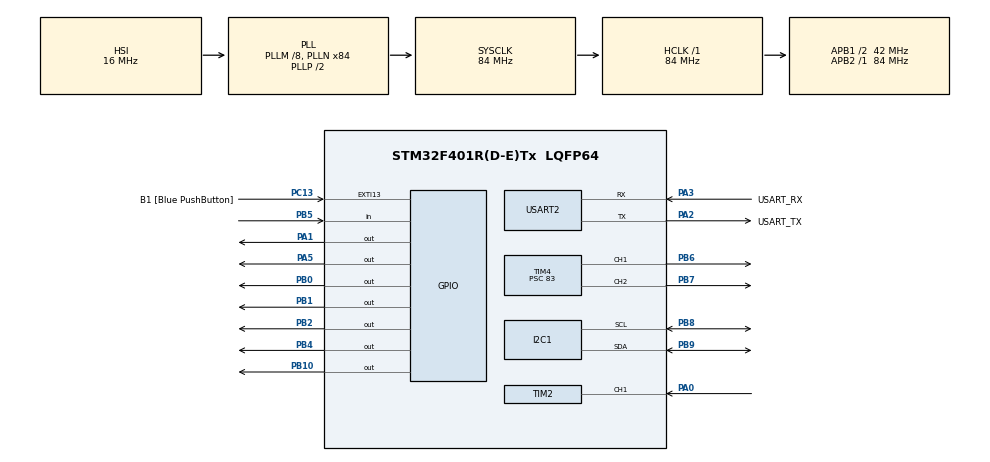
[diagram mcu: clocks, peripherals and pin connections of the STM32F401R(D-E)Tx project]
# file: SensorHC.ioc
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Mcu.Family=STM32F4
PA2.GPIO_PuPd=GPIO_NOPULL
RCC.CortexFreq_Value=84000000
TIM2.Channel-Input_Capture1_from_TI1=TIM_CHANNEL_1
PB10.GPIO_Speed=GPIO_SPEED_FREQ_MEDIUM
PA14.GPIO_Label=TCK
PA3.GPIO_PuPd=GPIO_NOPULL
PB2.GPIO_Speed=GPIO_SPEED_FREQ_MEDIUM
PA2.GPIO_Speed=GPIO_SPEED_FREQ_LOW
PA3.GPIO_Speed=GPIO_SPEED_FREQ_LOW
RCC.SYSCLKSource=RCC_SYSCLKSOURCE_PLLCLK
ProjectManager.StackSize=0x400
TIM1.Prescaler=83
PH0\ -\ OSC_IN.Signal=RCC_OSC_IN
RCC.HCLKFreq_Value=84000000
RCC.APB2TimFreq_Value=84000000
PB6.Signal=S_TIM4_CH1
RCC.AHBFreq_Value=84000000
RCC.HSE_VALUE=8000000
PB2.Signal=GPIO_Output
PC13-ANTI_TAMP.Signal=GPXTI13
PC14-OSC32_IN.Mode=LSE-External-Oscillator
PB1.GPIO_Speed=GPIO_SPEED_FREQ_MEDIUM
PA14.Mode=Serial_Wire
NVIC.TIM2_IRQn=true\:0\:0\:false\:false\:true\:true\:true
SH.S_TIM4_CH2.0=TIM4_CH2,PWM Generation2 CH2
PB7.Signal=S_TIM4_CH2
TIM4.Period=999
VP_TIM1_VS_ClockSourceINT.Mode=Internal
PB9.Signal=I2C1_SDA
Mcu.Package=LQFP64
TIM2.Prescaler=83
PB1.Signal=GPIO_Output
USART2.VirtualMode=VM_ASYNC
PA2.GPIO_Label=USART_TX
SH.S_TIM4_CH1.0=TIM4_CH1,PWM Generation1 CH1
RCC.APB1TimFreq_Value=84000000
PB4.Signal=GPIO_Output
PA3.Signal=USART2_RX
PA2.GPIO_Mode=GPIO_MODE_AF_PP
PB3.GPIO_Label=SWO
TIM4.Channel-PWM\ Generation1\ CH1=TIM_CHANNEL_1
PC15-OSC32_OUT.Mode=LSE-External-Oscillator
TIM4.AutoReloadPreload=TIM_AUTORELOAD_PRELOAD_ENABLE
PC13-ANTI_TAMP.GPIO_PuPd=GPIO_NOPULL
PC13-ANTI_TAMP.GPIO_Label=B1 [Blue PushButton]
PH1\ -\ OSC_OUT.Mode=HSE-External-Clock-Source
RCC.APB1CLKDivider=RCC_HCLK_DIV2
PC14-OSC32_IN.Signal=RCC_OSC32_IN
PA0-WKUP.Signal=S_TIM2_CH1_ETR
PB0.GPIO_Speed=GPIO_SPEED_FREQ_MEDIUM
PA13.Signal=SYS_JTMS-SWDIO
PA3.Mode=Asynchronous
PH0\ -\ OSC_IN.Mode=HSE-External-Clock-Source
ProjectManager.TargetToolchain=STM32CubeIDE
PA3.GPIO_Mode=GPIO_MODE_AF_PP
PB9.Mode=I2C
TIM4.Prescaler=83
PC15-OSC32_OUT.Signal=RCC_OSC32_OUT
PA1.Signal=GPIO_Output
PB10.Signal=GPIO_Output
PA5.Signal=GPIO_Output
PH1\ -\ OSC_OUT.Signal=RCC_OSC_OUT
board=NUCLEO-F401RE
RCC.VCOOutputFreq_Value=168000000
TIM4.Channel-PWM\ Generation2\ CH2=TIM_CHANNEL_2
RCC.APB2Freq_Value=84000000
VP_TIM2_VS_ClockSourceINT.Mode=Internal
PA13.Mode=Serial_Wire
Mcu.Name=STM32F401R(D-E)Tx
PA2.Signal=USART2_TX
PA13.GPIO_Label=TMS
RCC.48MHZClocksFreq_Value=24000000
PB3.Signal=SYS_JTDO-SWO
RCC.SYSCLKFreq_VALUE=84000000
PB5.Signal=GPIO_Input
PC13-ANTI_TAMP.GPIO_ModeDefaultEXTI=GPIO_MODE_IT_FALLING
SH.S_TIM2_CH1_ETR.0=TIM2_CH1,Input_Capture1_from_TI1
PA14.Signal=SYS_JTCK-SWCLK
ProjectManager.HeapSize=0x200
RCC.HSI_VALUE=16000000
RCC.PLLQ=7
NVIC.PriorityGroup=NVIC_PRIORITYGROUP_0
RCC.PLLM=8
PB8.Mode=I2C
RCC.PLLN=84
PA2.Mode=Asynchronous
PB8.Signal=I2C1_SCL
RCC.APB1Freq_Value=42000000
PB0.Signal=GPIO_Output
PA3.GPIO_Label=USART_RX

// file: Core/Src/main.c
/* USER CODE BEGIN Header */
/**
  * ****************************************************************************
  * @file           : main.c
  * @brief          : Main program body optimized for 16MHz System Clock
  * ****************************************************************************
  */
/* USER CODE END Header */
#include "main.h"

/* USER CODE BEGIN Includes */
#include <stdio.h>
#include <string.h>
#include <math.h>
/* USER CODE END Includes */

/* USER CODE BEGIN PD */
#define SLAVE_ADDRESS_LCD (0x27 << 1)
/* USER CODE END PD */

I2C_HandleTypeDef hi2c1;

TIM_HandleTypeDef htim1;
TIM_HandleTypeDef htim2;
TIM_HandleTypeDef htim4;

UART_HandleTypeDef huart2;

/* USER CODE BEGIN PV */
volatile uint32_t IC_Val1 = 0;
volatile uint32_t IC_Val2 = 0;
volatile uint32_t Difference = 0;
volatile uint8_t Is_First_Captured = 0;
volatile int Distance_cm = 0;

#define MOTOR_RIGHT_CALIBRATION  0.95

int current_pwm = 0;     // Muc PWM hien tai (0 - 1000)
float v_current = 0.0;   // Toc do uoc luong (cm/s)
float d_safe = 0.0;      // Khoang cach an toan tinh toan
/* USER CODE END PV */

void SystemClock_Config(void);
static void MX_GPIO_Init(void);
static void MX_USART2_UART_Init(void);
static void MX_I2C1_Init(void);
static void MX_TIM1_Init(void);
static void MX_TIM2_Init(void);
static void MX_TIM4_Init(void);
/* USER CODE BEGIN PFP */
void delay_us(uint16_t us);
void HCSR04_Read(void);
void LCD_SendCommand(char cmd);
void LCD_SendData(char data);
void LCD_Init(void);
void LCD_SendString(char *str);
void LCD_Clear(void);
/* USER CODE END PFP */

int main(void)
{

  /* MCU Configuration--------------------------------------------------------*/

  /* Reset of all peripherals, Initializes the Flash interface and the Systick. */
  HAL_Init();

  /* Configure the system clock */
  SystemClock_Config();

  /* Initialize all configured peripherals */
  MX_GPIO_Init();
  MX_USART2_UART_Init();
  MX_I2C1_Init();
  MX_TIM1_Init();
  MX_TIM2_Init();
  MX_TIM4_Init();
  /* USER CODE BEGIN 2 */

  // 1. Khoi dong Timer delay va Ngat Input Capture cho cam bien sieu am
  HAL_TIM_Base_Start(&htim1);
  HAL_TIM_IC_Start_IT(&htim2, TIM_CHANNEL_1);

  // 2. Khoi dong ca 2 kenh xung PWM dieu khien L298N
  HAL_TIM_PWM_Start(&htim4, TIM_CHANNEL_1); // Chan ENA (Banh trai)
  HAL_TIM_PWM_Start(&htim4, TIM_CHANNEL_2); // Chan ENB (Banh phai)

  // 3. Cau hinh huong quay TIEN mac dinh ban dau cho ca 2 banh
  HAL_GPIO_WritePin(GPIOB, GPIO_PIN_0, GPIO_PIN_SET);   // IN1 = 1
  HAL_GPIO_WritePin(GPIOB, GPIO_PIN_1, GPIO_PIN_RESET); // IN2 = 0
  HAL_GPIO_WritePin(GPIOB, GPIO_PIN_2, GPIO_PIN_SET);   // IN3 = 1
  HAL_GPIO_WritePin(GPIOB, GPIO_PIN_10, GPIO_PIN_RESET);// IN4 = 0

  // 4. Khoi dong man hinh hien thi LCD
  LCD_Init();
  LCD_Clear();
  LCD_SendString("ADAS SYSTEM ON ");
  HAL_Delay(1000);
  LCD_Clear();

  // Khai bao cac moc thoi gian chay da nhiem khong ham delay
  uint32_t last_sensor_tick = 0;
  uint32_t last_lcd_tick = 0;
  uint32_t last_motor_tick = 0;
  /* USER CODE END 2 */

  /* Infinite loop */
  /* USER CODE BEGIN WHILE */
  while (1)
  {
      uint32_t current_tick = HAL_GetTick();
      float motor_right_calibration = 0.95f;

      // ---------------------------------------------------------
      // KHOI 1: CAP NHAT KHOANG CACH (Moi 60ms)
      // ---------------------------------------------------------
      if (current_tick - last_sensor_tick >= 60)
      {
          last_sensor_tick = current_tick;
          HCSR04_Read();
      }

      // ---------------------------------------------------------
      // KHOI 2: XU LY TRANG THAI & CANH BAO (Moi 50ms)
      // ---------------------------------------------------------
      if (current_tick - last_motor_tick >= 50)
      {
          last_motor_tick = current_tick;

          // Kiem tra ngoai gioi han do cua cam bien (Out of range)
          if (Distance_cm < 2 || Distance_cm > 400)
          {
              HAL_GPIO_WritePin(GPIOA, GPIO_PIN_5, GPIO_PIN_RESET); // Tat LED
              HAL_GPIO_WritePin(GPIOB, GPIO_PIN_4, GPIO_PIN_RESET); // Tat Buzzer
              current_pwm = 0; // Tat dong co cho an toan
          }
          // DANGER ZONE: < 50 cm
          else if (Distance_cm < 50)
          {
              HAL_GPIO_WritePin(GPIOA, GPIO_PIN_5, GPIO_PIN_SET);   // Bat LED
              HAL_GPIO_WritePin(GPIOB, GPIO_PIN_4, GPIO_PIN_SET);   // Buzzer keu
              current_pwm = 0; // Dung xe
          }
          // WARNING ZONE: 50 cm - 100 cm
          else if (Distance_cm <= 100)
          {
              HAL_GPIO_WritePin(GPIOA, GPIO_PIN_5, GPIO_PIN_SET);   // Bat LED
              HAL_GPIO_WritePin(GPIOB, GPIO_PIN_4, GPIO_PIN_RESET); // Khong keu Buzzer
              current_pwm = 500; // Giam toc do chay cham
          }
          // SAFE ZONE: > 100 cm
          else
          {
              HAL_GPIO_WritePin(GPIOA, GPIO_PIN_5, GPIO_PIN_RESET); // Tat LED
              HAL_GPIO_WritePin(GPIOB, GPIO_PIN_4, GPIO_PIN_RESET); // Tat Buzzer
              current_pwm = 600; // Toc do binh thuong
          }

          // --- THUC HIEN CAN BANG TOC DO 2 BANH TAI DAY ---
          int pwm_left  = current_pwm;
          int pwm_right = (int)(current_pwm * motor_right_calibration);

          if (pwm_right < 0)   pwm_right = 0;
          if (pwm_right > 999) pwm_right = 999;

          __HAL_TIM_SET_COMPARE(&htim4, TIM_CHANNEL_1, pwm_left);  // Banh trai
          __HAL_TIM_SET_COMPARE(&htim4, TIM_CHANNEL_2, pwm_right); // Banh phai
      }

      // ---------------------------------------------------------
      // KHOI 3: GIAO DIEN HIEN THI LCD (Moi 200ms)
      // ---------------------------------------------------------
      if (current_tick - last_lcd_tick >= 200)
      {
          last_lcd_tick = current_tick;
          char lcd_buf[17];

          // --- DONG 1: Hien thi Khoang cach ---
          LCD_SendCommand(0x80);
          if (Distance_cm < 2 || Distance_cm > 400) {
              sprintf(lcd_buf, "Dist: Out Range ");
          } else {
              sprintf(lcd_buf, "Dist: %3d cm    ", Distance_cm);
          }
          LCD_SendString(lcd_buf);

          // --- DONG 2: Hien thi Trang thai (Status) ---
          LCD_SendCommand(0xC0);
          if (Distance_cm < 2 || Distance_cm > 400) {
              sprintf(lcd_buf, "Status: Error   ");
          } else if (Distance_cm < 50) {
              sprintf(lcd_buf, "Status: Danger  ");
          } else if (Distance_cm <= 100) {
              sprintf(lcd_buf, "Status: Warning ");
          } else {
              sprintf(lcd_buf, "Status: Safe    ");
          }
          LCD_SendString(lcd_buf);
      }
  }
    /* USER CODE END WHILE */

}

void SystemClock_Config(void)
{
  RCC_OscInitTypeDef RCC_OscInitStruct = {0};
  RCC_ClkInitTypeDef RCC_ClkInitStruct = {0};

  /** Configure the main internal regulator output voltage
  */
  __HAL_RCC_PWR_CLK_ENABLE();
  __HAL_PWR_VOLTAGESCALING_CONFIG(PWR_REGULATOR_VOLTAGE_SCALE2);
  /** Initializes the RCC Oscillators according to the specified parameters
  * in the RCC_OscInitTypeDef structure.
  */
  RCC_OscInitStruct.OscillatorType = RCC_OSCILLATORTYPE_HSI;
  RCC_OscInitStruct.HSIState = RCC_HSI_ON;
  RCC_OscInitStruct.HSICalibrationValue = RCC_HSICALIBRATION_DEFAULT;
  RCC_OscInitStruct.PLL.PLLState = RCC_PLL_ON;
  RCC_OscInitStruct.PLL.PLLSource = RCC_PLLSOURCE_HSI;
  RCC_OscInitStruct.PLL.PLLM = 8;
  RCC_OscInitStruct.PLL.PLLN = 84;
  RCC_OscInitStruct.PLL.PLLP = RCC_PLLP_DIV2;
  RCC_OscInitStruct.PLL.PLLQ = 7;
  if (HAL_RCC_OscConfig(&RCC_OscInitStruct) != HAL_OK)
  {
    Error_Handler();
  }
  /** Initializes the CPU, AHB and APB buses clocks
  */
  RCC_ClkInitStruct.ClockType = RCC_CLOCKTYPE_HCLK|RCC_CLOCKTYPE_SYSCLK
                              |RCC_CLOCKTYPE_PCLK1|RCC_CLOCKTYPE_PCLK2;
  RCC_ClkInitStruct.SYSCLKSource = RCC_SYSCLKSOURCE_PLLCLK;
  RCC_ClkInitStruct.AHBCLKDivider = RCC_SYSCLK_DIV1;
  RCC_ClkInitStruct.APB1CLKDivider = RCC_HCLK_DIV2;
  RCC_ClkInitStruct.APB2CLKDivider = RCC_HCLK_DIV1;

  if (HAL_RCC_ClockConfig(&RCC_ClkInitStruct, FLASH_LATENCY_2) != HAL_OK)
  {
    Error_Handler();
  }
}

static void MX_I2C1_Init(void)
{

  hi2c1.Instance = I2C1;
  hi2c1.Init.ClockSpeed = 100000;
  hi2c1.Init.DutyCycle = I2C_DUTYCYCLE_2;
  hi2c1.Init.OwnAddress1 = 0;
  hi2c1.Init.AddressingMode = I2C_ADDRESSINGMODE_7BIT;
  hi2c1.Init.DualAddressMode = I2C_DUALADDRESS_DISABLE;
  hi2c1.Init.OwnAddress2 = 0;
  hi2c1.Init.GeneralCallMode = I2C_GENERALCALL_DISABLE;
  hi2c1.Init.NoStretchMode = I2C_NOSTRETCH_DISABLE;
  if (HAL_I2C_Init(&hi2c1) != HAL_OK)
  {
    Error_Handler();
  }

}

static void MX_TIM1_Init(void)
{

  TIM_ClockConfigTypeDef sClockSourceConfig = {0};
  TIM_MasterConfigTypeDef sMasterConfig = {0};

  htim1.Instance = TIM1;
  htim1.Init.Prescaler = 83;
  htim1.Init.CounterMode = TIM_COUNTERMODE_UP;
  htim1.Init.Period = 65535;
  htim1.Init.ClockDivision = TIM_CLOCKDIVISION_DIV1;
  htim1.Init.RepetitionCounter = 0;
  htim1.Init.AutoReloadPreload = TIM_AUTORELOAD_PRELOAD_DISABLE;
  if (HAL_TIM_Base_Init(&htim1) != HAL_OK)
  {
    Error_Handler();
  }
  sClockSourceConfig.ClockSource = TIM_CLOCKSOURCE_INTERNAL;
  if (HAL_TIM_ConfigClockSource(&htim1, &sClockSourceConfig) != HAL_OK)
  {
    Error_Handler();
  }
  sMasterConfig.MasterOutputTrigger = TIM_TRGO_RESET;
  sMasterConfig.MasterSlaveMode = TIM_MASTERSLAVEMODE_DISABLE;
  if (HAL_TIMEx_MasterConfigSynchronization(&htim1, &sMasterConfig) != HAL_OK)
  {
    Error_Handler();
  }

}

static void MX_TIM2_Init(void)
{

  TIM_ClockConfigTypeDef sClockSourceConfig = {0};
  TIM_MasterConfigTypeDef sMasterConfig = {0};
  TIM_IC_InitTypeDef sConfigIC = {0};

  htim2.Instance = TIM2;
  htim2.Init.Prescaler = 83;
  htim2.Init.CounterMode = TIM_COUNTERMODE_UP;
  htim2.Init.Period = 4294967295;
  htim2.Init.ClockDivision = TIM_CLOCKDIVISION_DIV1;
  htim2.Init.AutoReloadPreload = TIM_AUTORELOAD_PRELOAD_DISABLE;
  if (HAL_TIM_Base_Init(&htim2) != HAL_OK)
  {
    Error_Handler();
  }
  sClockSourceConfig.ClockSource = TIM_CLOCKSOURCE_INTERNAL;
  if (HAL_TIM_ConfigClockSource(&htim2, &sClockSourceConfig) != HAL_OK)
  {
    Error_Handler();
  }
  if (HAL_TIM_IC_Init(&htim2) != HAL_OK)
  {
    Error_Handler();
  }
  sMasterConfig.MasterOutputTrigger = TIM_TRGO_RESET;
  sMasterConfig.MasterSlaveMode = TIM_MASTERSLAVEMODE_DISABLE;
  if (HAL_TIMEx_MasterConfigSynchronization(&htim2, &sMasterConfig) != HAL_OK)
  {
    Error_Handler();
  }
  sConfigIC.ICPolarity = TIM_INPUTCHANNELPOLARITY_RISING;
  sConfigIC.ICSelection = TIM_ICSELECTION_DIRECTTI;
  sConfigIC.ICPrescaler = TIM_ICPSC_DIV1;
  sConfigIC.ICFilter = 0;
  if (HAL_TIM_IC_ConfigChannel(&htim2, &sConfigIC, TIM_CHANNEL_1) != HAL_OK)
  {
    Error_Handler();
  }

}

static void MX_TIM4_Init(void)
{

  TIM_MasterConfigTypeDef sMasterConfig = {0};
  TIM_OC_InitTypeDef sConfigOC = {0};

  htim4.Instance = TIM4;
  htim4.Init.Prescaler = 83;
  htim4.Init.CounterMode = TIM_COUNTERMODE_UP;
  htim4.Init.Period = 999;
  htim4.Init.ClockDivision = TIM_CLOCKDIVISION_DIV1;
  htim4.Init.AutoReloadPreload = TIM_AUTORELOAD_PRELOAD_ENABLE;
  if (HAL_TIM_PWM_Init(&htim4) != HAL_OK)
  {
    Error_Handler();
  }
  sMasterConfig.MasterOutputTrigger = TIM_TRGO_RESET;
  sMasterConfig.MasterSlaveMode = TIM_MASTERSLAVEMODE_DISABLE;
  if (HAL_TIMEx_MasterConfigSynchronization(&htim4, &sMasterConfig) != HAL_OK)
  {
    Error_Handler();
  }
  sConfigOC.OCMode = TIM_OCMODE_PWM1;
  sConfigOC.Pulse = 0;
  sConfigOC.OCPolarity = TIM_OCPOLARITY_HIGH;
  sConfigOC.OCFastMode = TIM_OCFAST_DISABLE;
  if (HAL_TIM_PWM_ConfigChannel(&htim4, &sConfigOC, TIM_CHANNEL_1) != HAL_OK)
  {
    Error_Handler();
  }
  if (HAL_TIM_PWM_ConfigChannel(&htim4, &sConfigOC, TIM_CHANNEL_2) != HAL_OK)
  {
    Error_Handler();
  }
  HAL_TIM_MspPostInit(&htim4);

}

static void MX_USART2_UART_Init(void)
{

  huart2.Instance = USART2;
  huart2.Init.BaudRate = 115200;
  huart2.Init.WordLength = UART_WORDLENGTH_8B;
  huart2.Init.StopBits = UART_STOPBITS_1;
  huart2.Init.Parity = UART_PARITY_NONE;
  huart2.Init.Mode = UART_MODE_TX_RX;
  huart2.Init.HwFlowCtl = UART_HWCONTROL_NONE;
  huart2.Init.OverSampling = UART_OVERSAMPLING_16;
  if (HAL_UART_Init(&huart2) != HAL_OK)
  {
    Error_Handler();
  }

}

static void MX_GPIO_Init(void)
{
  GPIO_InitTypeDef GPIO_InitStruct = {0};

  /* GPIO Ports Clock Enable */
  __HAL_RCC_GPIOC_CLK_ENABLE();
  __HAL_RCC_GPIOH_CLK_ENABLE();
  __HAL_RCC_GPIOA_CLK_ENABLE();
  __HAL_RCC_GPIOB_CLK_ENABLE();

  /*Configure GPIO pin Output Level */
  HAL_GPIO_WritePin(GPIOA, GPIO_PIN_1|GPIO_PIN_5, GPIO_PIN_RESET);

  /*Configure GPIO pin Output Level */
  HAL_GPIO_WritePin(GPIOB, GPIO_PIN_0|GPIO_PIN_1|GPIO_PIN_2|GPIO_PIN_10
                          |GPIO_PIN_4, GPIO_PIN_RESET);

  /*Configure GPIO pin : B1_Pin */
  GPIO_InitStruct.Pin = B1_Pin;
  GPIO_InitStruct.Mode = GPIO_MODE_IT_FALLING;
  GPIO_InitStruct.Pull = GPIO_NOPULL;
  HAL_GPIO_Init(B1_GPIO_Port, &GPIO_InitStruct);

  /*Configure GPIO pins : PA1 PA5 */
  GPIO_InitStruct.Pin = GPIO_PIN_1|GPIO_PIN_5;
  GPIO_InitStruct.Mode = GPIO_MODE_OUTPUT_PP;
  GPIO_InitStruct.Pull = GPIO_NOPULL;
  GPIO_InitStruct.Speed = GPIO_SPEED_FREQ_LOW;
  HAL_GPIO_Init(GPIOA, &GPIO_InitStruct);

  /*Configure GPIO pins : PB0 PB1 PB2 PB10 */
  GPIO_InitStruct.Pin = GPIO_PIN_0|GPIO_PIN_1|GPIO_PIN_2|GPIO_PIN_10;
  GPIO_InitStruct.Mode = GPIO_MODE_OUTPUT_PP;
  GPIO_InitStruct.Pull = GPIO_NOPULL;
  GPIO_InitStruct.Speed = GPIO_SPEED_FREQ_MEDIUM;
  HAL_GPIO_Init(GPIOB, &GPIO_InitStruct);

  /*Configure GPIO pin : PB4 */
  GPIO_InitStruct.Pin = GPIO_PIN_4;
  GPIO_InitStruct.Mode = GPIO_MODE_OUTPUT_PP;
  GPIO_InitStruct.Pull = GPIO_NOPULL;
  GPIO_InitStruct.Speed = GPIO_SPEED_FREQ_LOW;
  HAL_GPIO_Init(GPIOB, &GPIO_InitStruct);

  /*Configure GPIO pin : PB5 */
  GPIO_InitStruct.Pin = GPIO_PIN_5;
  GPIO_InitStruct.Mode = GPIO_MODE_INPUT;
  GPIO_InitStruct.Pull = GPIO_NOPULL;
  HAL_GPIO_Init(GPIOB, &GPIO_InitStruct);

}

/* USER CODE BEGIN 4 */
void delay_us(uint16_t us)
{
    __HAL_TIM_SET_COUNTER(&htim1, 0);
    while (__HAL_TIM_GET_COUNTER(&htim1) < us);
}

void HCSR04_Read(void)
{
    HAL_GPIO_WritePin(GPIOA, GPIO_PIN_1, GPIO_PIN_SET);
    delay_us(10);
    HAL_GPIO_WritePin(GPIOA, GPIO_PIN_1, GPIO_PIN_RESET);
}

void HAL_TIM_IC_CaptureCallback(TIM_HandleTypeDef *htim)
{
    if (htim->Instance == TIM2)
    {
        if (Is_First_Captured == 0)
        {
            IC_Val1 = HAL_TIM_ReadCapturedValue(htim, TIM_CHANNEL_1);
            Is_First_Captured = 1;
            __HAL_TIM_SET_CAPTUREPOLARITY(htim, TIM_CHANNEL_1, TIM_INPUTCHANNELPOLARITY_FALLING);
        }
        else if (Is_First_Captured == 1)
        {
            IC_Val2 = HAL_TIM_ReadCapturedValue(htim, TIM_CHANNEL_1);

            if (IC_Val2 > IC_Val1)
            {
                Difference = IC_Val2 - IC_Val1;
            }
            else if (IC_Val1 > IC_Val2)
            {
                Difference = (__HAL_TIM_GET_AUTORELOAD(htim) - IC_Val1) + IC_Val2;
            }

            Distance_cm = Difference / 58;

            Is_First_Captured = 0;
            __HAL_TIM_SET_CAPTUREPOLARITY(htim, TIM_CHANNEL_1, TIM_INPUTCHANNELPOLARITY_RISING);
        }
    }
}

void LCD_SendCommand(char cmd)
{
    char data_u, data_l;
    uint8_t data_t[4];
    data_u = (cmd & 0xf0);
    data_l = ((cmd << 4) & 0xf0);
    data_t[0] = data_u | 0x0C;
    data_t[1] = data_u | 0x08;
    data_t[2] = data_l | 0x0C;
    data_t[3] = data_l | 0x08;
    HAL_I2C_Master_Transmit(&hi2c1, SLAVE_ADDRESS_LCD, data_t, 4, 100);
}

void LCD_SendData(char data)
{
    char data_u, data_l;
    uint8_t data_t[4];
    data_u = (data & 0xf0);
    data_l = ((data << 4) & 0xf0);
    data_t[0] = data_u | 0x0D;
    data_t[1] = data_u | 0x09;
    data_t[2] = data_l | 0x0D;
    data_t[3] = data_l | 0x09;
    HAL_I2C_Master_Transmit(&hi2c1, SLAVE_ADDRESS_LCD, data_t, 4, 100);
}

void LCD_Init(void)
{
    HAL_Delay(50);
    LCD_SendCommand(0x30);
    HAL_Delay(5);
    LCD_SendCommand(0x30);
    HAL_Delay(1);
    LCD_SendCommand(0x30);
    HAL_Delay(10);
    LCD_SendCommand(0x20);
    HAL_Delay(10);

    LCD_SendCommand(0x28);
    HAL_Delay(1);
    LCD_SendCommand(0x0C);
    HAL_Delay(1);
    LCD_SendCommand(0x06);
    HAL_Delay(1);
    LCD_SendCommand(0x01);
    HAL_Delay(2);
}

void LCD_SendString(char *str)
{
    while (*str) LCD_SendData(*str++);
}

void LCD_Clear(void)
{
    LCD_SendCommand(0x01);
    HAL_Delay(2);
}
/* USER CODE END 4 */

void Error_Handler(void)
{
  __disable_irq();
  while (1)
  {
  }
}

/************************ (C) COPYRIGHT STMicroelectronics *****END OF FILE****/
